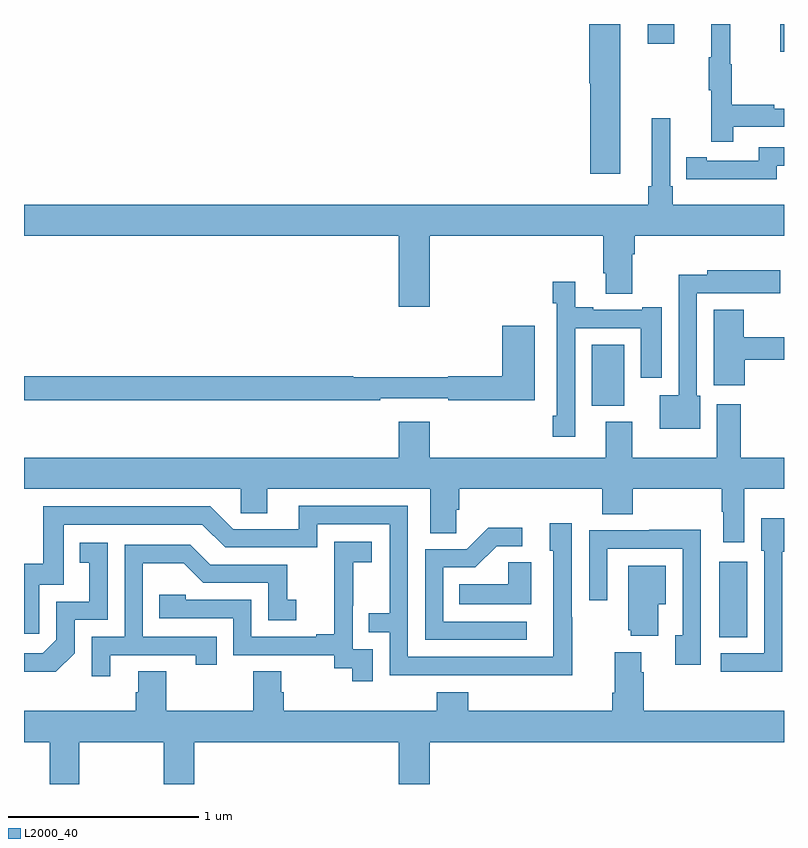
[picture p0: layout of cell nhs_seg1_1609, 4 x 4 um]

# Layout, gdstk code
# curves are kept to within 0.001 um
import gdstk
lib = gdstk.Library(unit=1e-6, precision=1e-09)
def R(c, l, rs):  # rectangles x0, y0, x1, y1
    for r in rs: c.add(gdstk.rectangle(r[:2], r[2:], *l))
def P(c, l, *ps):  # polygons
    for p in ps: c.add(gdstk.Polygon(p, *l))
L2000_40 = (2000, 40)

nhs_seg1_1609 = lib.new_cell('nhs_seg1_1609')
R(nhs_seg1_1609, L2000_40, [(202.658,530.971,202.807,531.37), (201.989,532.19,202.159,532.51), (202.979,534.054,203,534.199), (202.283,534.096,202.423,534.199)])
P(nhs_seg1_1609, L2000_40, [(202.138,534.199),(201.974,534.199),(201.974,533.886),(201.98,533.886),(201.98,533.412),(202.138,533.412)],
  [(202.733,533.658),(203,533.658),(203,533.754),(202.949,533.754),(202.949,533.774),(202.726,533.774),(202.726,533.988),(202.718,533.988),(202.718,534.199),(202.616,534.199),(202.616,534.025),(202.605,534.025),(202.605,533.851),(202.616,533.851),(202.616,533.58),(202.733,533.58)],
  [(201.136,533.084),(202.049,533.084),(202.049,532.888),(202.061,532.888),(202.061,532.78),(202.201,532.78),(202.201,532.988),(202.214,532.988),(202.214,533.084),(203,533.084),(203,533.248),(202.415,533.248),(202.415,533.344),(202.401,533.344),(202.401,533.704),(202.304,533.704),(202.304,533.344),(202.285,533.344),(202.285,533.248),(199,533.248),(199,533.084),(200.972,533.084),(200.972,532.71),(201.136,532.71)],
  [(202.962,533.454),(203,533.454),(203,533.55),(202.866,533.55),(202.866,533.478),(202.594,533.478),(202.594,533.498),(202.486,533.498),(202.486,533.382),(202.594,533.382),(202.594,533.381),(202.962,533.381)],
  [(202.558,532.242),(202.542,532.242),(202.542,532.782),(202.754,532.782),(202.754,532.781),(202.981,532.781),(202.981,532.903),(202.596,532.903),(202.596,532.88),(202.446,532.88),(202.446,532.246),(202.346,532.246),(202.346,532.07),(202.558,532.07)],
  [(201.9,532.599),(202.247,532.599),(202.247,532.338),(202.357,532.338),(202.357,532.708),(202.253,532.708),(202.253,532.695),(201.997,532.695),(201.997,532.708),(201.901,532.708),(201.901,532.843),(201.784,532.843),(201.784,532.73),(201.804,532.73),(201.804,532.138),(201.784,532.138),(201.784,532.026),(201.9,532.026)],
  [(202.793,532.432),(203,532.432),(203,532.551),(202.788,532.551),(202.788,532.696),(202.631,532.696),(202.631,532.299),(202.793,532.299)],
  [(200.876,532.23),(201.232,532.23),(201.232,532.218),(201.688,532.218),(201.688,532.612),(201.518,532.612),(201.518,532.346),(201.234,532.346),(201.234,532.339),(200.734,532.339),(200.734,532.346),(199,532.346),(199,532.218),(200.876,532.218)],
  [(202.792,531.752),(203,531.752),(203,531.916),(202.772,531.916),(202.772,532.198),(202.646,532.198),(202.646,531.916),(202.201,531.916),(202.201,532.105),(202.061,532.105),(202.061,531.916),(201.136,531.916),(201.136,532.105),(200.972,532.105),(200.972,531.916),(199,531.916),(199,531.752),(200.142,531.752),(200.142,531.625),(200.281,531.625),(200.281,531.752),(201.137,531.752),(201.137,531.52),(201.276,531.52),(201.276,531.643),(201.29,531.643),(201.29,531.752),(202.043,531.752),(202.043,531.619),(202.203,531.619),(202.203,531.752),(202.672,531.752),(202.672,531.631),(202.679,531.631),(202.679,531.471),(202.792,531.471)],
  [(201.885,531.077),(201.882,531.077),(201.882,531.571),(201.767,531.571),(201.767,531.426),(201.786,531.426),(201.786,530.868),(201.021,530.868),(201.021,531.663),(200.447,531.663),(200.447,531.54),(200.1,531.54),(199.98,531.66),(199.101,531.66),(199.101,531.358),(199,531.358),(199,530.991),(199.08,530.991),(199.08,531.249),(199.209,531.249),(199.209,531.564),(199.938,531.564),(200.058,531.444),(200.544,531.444),(200.544,531.567),(200.925,531.567),(200.925,531.098),(200.815,531.098),(200.815,530.997),(200.925,530.997),(200.925,530.772),(201.885,530.771)],
  [(202.992,531.422),(203,531.422),(203,531.598),(202.88,531.598),(202.88,531.426),(202.896,531.426),(202.896,530.886),(202.668,530.886),(202.668,530.789),(202.992,530.789)],
  [(201.646,531.054),(201.207,531.054),(201.207,531.339),(201.376,531.339),(201.487,531.45),(201.622,531.45),(201.622,531.548),(201.443,531.548),(201.33,531.435),(201.111,531.435),(201.111,530.958),(201.646,530.958)],
  [(202.563,531.536),(202.291,531.536),(202.291,531.534),(201.975,531.534),(201.975,531.165),(202.071,531.165),(202.071,531.438),(202.467,531.438),(202.467,530.982),(202.427,530.982),(202.427,530.826),(202.563,530.826)],
  [(200.835,530.907),(200.73,530.907),(200.73,531.137),(200.732,531.137),(200.732,531.365),(200.83,531.365),(200.83,531.475),(200.632,531.475),(200.632,531.269),(200.633,531.269),(200.633,530.986),(200.537,530.986),(200.537,530.973),(200.196,530.973),(200.196,531.168),(199.851,531.168),(199.851,531.195),(199.711,531.195),(199.711,531.072),(200.1,531.072),(200.1,530.877),(200.634,530.877),(200.634,530.809),(200.727,530.809),(200.727,530.739),(200.835,530.739)],
  [(199.266,530.886),(199.266,531.063),(199.44,531.063),(199.44,531.469),(199.294,531.469),(199.294,531.363),(199.343,531.363),(199.343,531.159),(199.17,531.159),(199.17,530.958),(199.098,530.886),(199,530.886),(199,530.789),(199.168,530.789)],
  [(199.453,530.877),(199.904,530.877),(199.904,530.826),(200.015,530.826),(200.015,530.973),(199.626,530.973),(199.626,531.362),(199.84,531.362),(199.944,531.258),(200.286,531.258),(200.286,531.06),(200.434,531.06),(200.434,531.169),(200.385,531.169),(200.385,531.354),(199.981,531.354),(199.876,531.459),(199.53,531.459),(199.53,530.973),(199.356,530.973),(199.356,530.766),(199.453,530.766)],
  [(201.67,531.365),(201.549,531.365),(201.549,531.25),(201.292,531.25),(201.292,531.146),(201.67,531.146)],
  [(202.339,531.146),(202.378,531.146),(202.378,531.349),(202.181,531.349),(202.181,531.009),(202.193,531.009),(202.193,530.978),(202.339,530.978)],
  [(199.601,530.682),(199.589,530.682),(199.589,530.584),(199,530.584),(199,530.42),(199.135,530.42),(199.135,530.199),(199.29,530.199),(199.29,530.42),(199.735,530.42),(199.735,530.199),(199.895,530.199),(199.895,530.42),(200.972,530.42),(200.972,530.199),(201.136,530.199),(201.136,530.42),(203,530.42),(203,530.584),(202.262,530.584),(202.262,530.786),(202.249,530.786),(202.249,530.893),(202.109,530.893),(202.109,530.68),(202.097,530.68),(202.097,530.584),(201.338,530.584),(201.338,530.683),(201.173,530.683),(201.173,530.584),(200.366,530.584),(200.366,530.682),(200.353,530.682),(200.353,530.792),(200.206,530.792),(200.206,530.584),(199.749,530.584),(199.749,530.792),(199.601,530.792)])

lib.write_gds('nhs_seg1_1609.gds')
